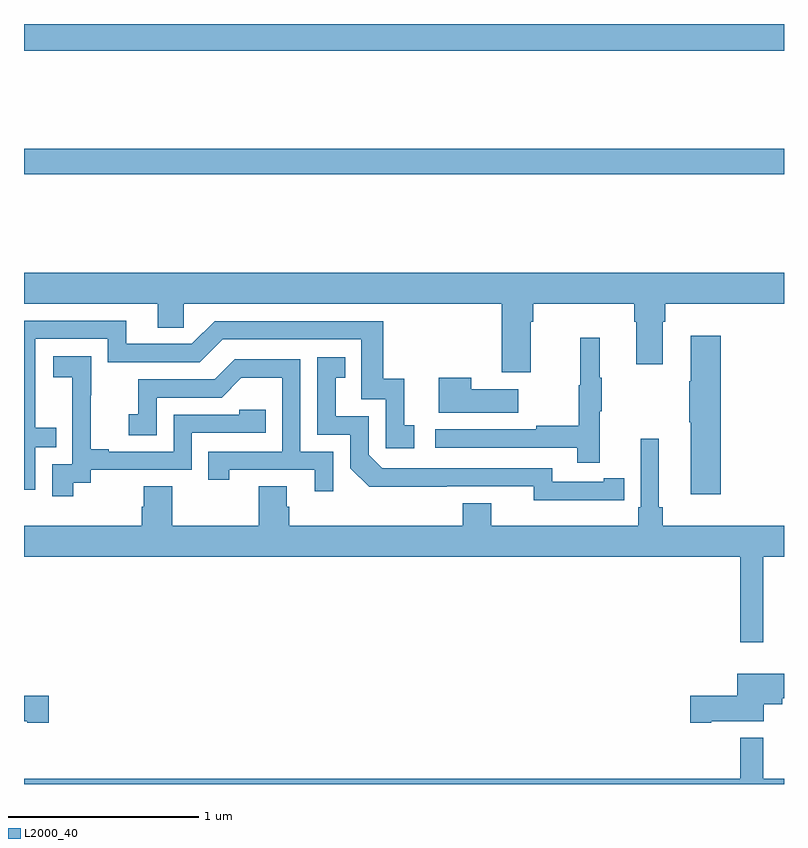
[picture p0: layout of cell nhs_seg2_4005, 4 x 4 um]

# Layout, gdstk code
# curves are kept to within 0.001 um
import gdstk
lib = gdstk.Library(unit=1e-6, precision=1e-09)
def R(c, l, rs):  # rectangles x0, y0, x1, y1
    for r in rs: c.add(gdstk.rectangle(r[:2], r[2:], *l))
def P(c, l, *ps):  # polygons
    for p in ps: c.add(gdstk.Polygon(p, *l))
L2000_40 = (2000, 40)

nhs_seg2_4005 = lib.new_cell('nhs_seg2_4005')
R(nhs_seg2_4005, L2000_40, [(325,623.008,329,623.144), (325,623.66,329,623.8)])
P(nhs_seg2_4005, L2000_40, [(327.667,622.232),(327.68,622.232),(327.68,622.328),(328.211,622.328),(328.211,622.232),(328.223,622.232),(328.223,622.008),(328.363,622.008),(328.363,622.232),(328.376,622.232),(328.376,622.328),(329,622.328),(329,622.492),(325,622.492),(325,622.328),(325.703,622.328),(325.703,622.201),(325.842,622.201),(325.842,622.328),(327.515,622.328),(327.515,621.966),(327.667,621.966)],
  [(325.059,621.573),(325.169,621.573),(325.169,621.674),(325.059,621.674),(325.059,622.143),(325.44,622.143),(325.44,622.02),(325.926,622.02),(326.046,622.14),(326.775,622.14),(326.775,621.825),(326.904,621.825),(326.904,621.567),(327.055,621.567),(327.055,621.687),(327.002,621.687),(327.002,621.934),(326.891,621.934),(326.891,622.236),(326.004,622.236),(325.884,622.116),(325.537,622.116),(325.537,622.239),(325,622.239),(325,621.348),(325.059,621.348)],
  [(328.667,622.159),(328.508,622.159),(328.508,621.92),(328.501,621.92),(328.501,621.703),(328.508,621.703),(328.508,621.324),(328.667,621.324)],
  [(328.031,621.763),(328.042,621.763),(328.042,621.937),(328.031,621.937),(328.031,622.15),(327.928,622.15),(327.928,621.9),(327.921,621.9),(327.921,621.686),(327.697,621.686),(327.697,621.666),(327.165,621.666),(327.165,621.57),(327.913,621.57),(327.913,621.492),(328.031,621.492)],
  [(325.258,621.385),(325.35,621.385),(325.35,621.453),(325.884,621.453),(325.884,621.648),(326.273,621.648),(326.273,621.771),(326.133,621.771),(326.133,621.744),(325.788,621.744),(325.788,621.549),(325.447,621.549),(325.447,621.562),(325.352,621.562),(325.352,621.845),(325.353,621.845),(325.353,622.051),(325.155,622.051),(325.155,621.941),(325.253,621.941),(325.253,621.713),(325.254,621.713),(325.254,621.483),(325.149,621.483),(325.149,621.315),(325.258,621.315)],
  [(328.052,621.294),(328.16,621.294),(328.16,621.41),(328.052,621.41),(328.052,621.39),(327.78,621.39),(327.78,621.462),(326.886,621.462),(326.814,621.534),(326.814,621.735),(326.641,621.735),(326.641,621.939),(326.69,621.939),(326.69,622.045),(326.544,622.045),(326.544,621.639),(326.718,621.639),(326.718,621.462),(326.816,621.365),(327.684,621.366),(327.684,621.293)],
  [(326.628,621.549),(326.454,621.549),(326.454,622.035),(326.108,622.035),(326.003,621.93),(325.6,621.93),(325.6,621.745),(325.551,621.745),(325.551,621.636),(325.698,621.636),(325.698,621.834),(326.04,621.834),(326.144,621.938),(326.358,621.938),(326.358,621.549),(325.969,621.549),(325.969,621.402),(326.08,621.402),(326.08,621.453),(326.531,621.453),(326.531,621.342),(326.628,621.342)],
  [(327.601,621.877),(327.353,621.877),(327.353,621.937),(327.182,621.937),(327.182,621.755),(327.601,621.755)],
  [(328.891,620.996),(329,620.996),(329,621.16),(328.361,621.16),(328.361,621.256),(328.342,621.256),(328.342,621.616),(328.245,621.616),(328.245,621.256),(328.232,621.256),(328.232,621.16),(327.46,621.16),(327.46,621.277),(327.308,621.277),(327.308,621.16),(326.396,621.16),(326.396,621.258),(326.383,621.258),(326.383,621.368),(326.236,621.368),(326.236,621.16),(325.779,621.16),(325.779,621.368),(325.631,621.368),(325.631,621.258),(325.619,621.258),(325.619,621.16),(325,621.16),(325,620.996),(328.77,620.996),(328.77,620.547),(328.891,620.547)],
  [(328.618,620.129),(328.894,620.129),(328.894,620.219),(328.99,620.219),(328.99,620.251),(329,620.251),(329,620.38),(328.754,620.38),(328.754,620.264),(328.506,620.264),(328.506,620.122),(328.618,620.122)],
  [(325.129,620.264),(325,620.264),(325,620.129),(325.016,620.129),(325.016,620.122),(325.129,620.122)],
  [(329,619.828),(328.891,619.828),(328.891,620.044),(328.77,620.044),(328.77,619.828),(325,619.828),(325,619.8),(329,619.8)])

lib.write_gds('nhs_seg2_4005.gds')
